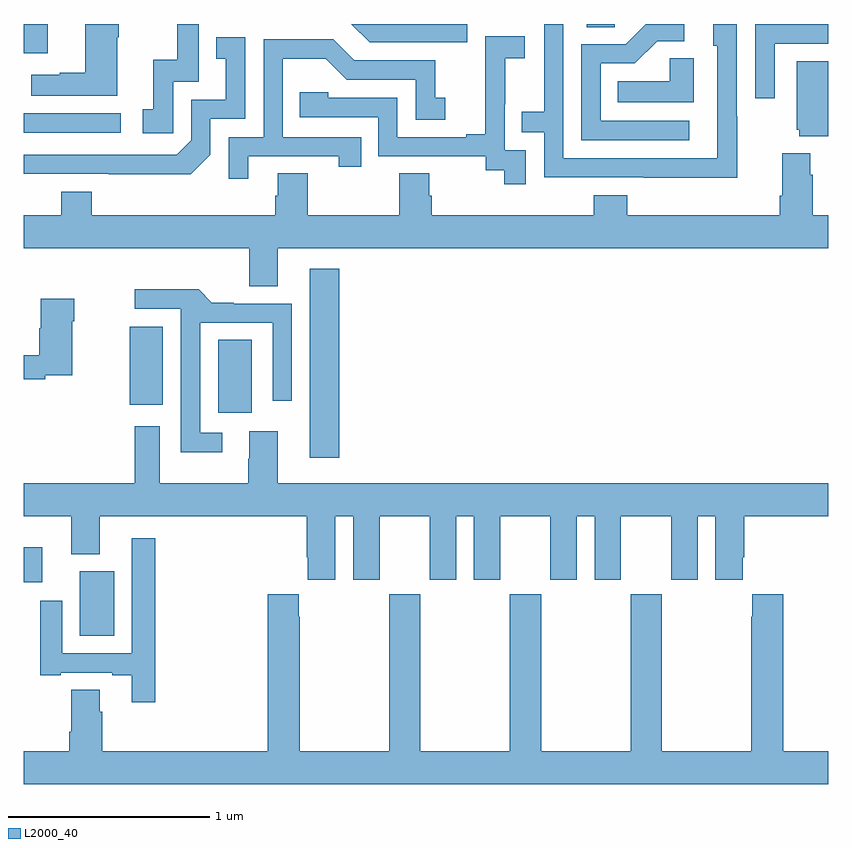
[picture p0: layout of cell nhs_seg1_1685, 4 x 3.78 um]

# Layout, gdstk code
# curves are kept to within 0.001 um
import gdstk
lib = gdstk.Library(unit=1e-6, precision=1e-09)
def R(c, l, rs):  # rectangles x0, y0, x1, y1
    for r in rs: c.add(gdstk.rectangle(r[:2], r[2:], *l))
def P(c, l, *ps):  # polygons
    for p in ps: c.add(gdstk.Polygon(p, *l))
L2000_40 = (2000, 40)

nhs_seg1_1685 = lib.new_cell('nhs_seg1_1685')
R(nhs_seg1_1685, L2000_40, [(203.279,531.158,203.449,531.478), (203,531.422,203.092,531.598), (204.422,532.041,204.569,532.981), (203.966,532.266,204.133,532.628), (203.528,532.307,203.692,532.693), (203,533.658,203.482,533.754), (203,534.054,203.119,534.199), (205.799,534.184,205.938,534.199)])
P(nhs_seg1_1685, L2000_40, [(203.464,534.134),(203.472,534.134),(203.472,534.199),(203.306,534.199),(203.306,533.957),(203.18,533.957),(203.18,533.947),(203.037,533.947),(203.037,533.843),(203.464,533.843)],
  [(206.547,533.741),(206.544,533.741),(206.544,534.199),(206.429,534.199),(206.429,534.09),(206.448,534.09),(206.448,533.532),(205.683,533.532),(205.683,534.199),(205.587,534.199),(205.587,533.762),(205.477,533.762),(205.477,533.661),(205.587,533.661),(205.587,533.436),(206.083,533.436),(206.083,533.435),(206.547,533.435)],
  [(206.733,534.102),(207,534.102),(207,534.199),(206.953,534.199),(206.953,534.198),(206.637,534.198),(206.637,533.829),(206.733,533.829)],
  [(206.308,533.718),(205.869,533.718),(205.869,534.003),(206.038,534.003),(206.149,534.114),(206.284,534.114),(206.284,534.199),(206.092,534.199),(205.992,534.099),(205.773,534.099),(205.773,533.622),(206.308,533.622)],
  [(203.742,533.913),(203.871,533.913),(203.871,534.199),(203.763,534.199),(203.763,534.022),(203.645,534.022),(203.645,533.775),(203.592,533.775),(203.592,533.655),(203.742,533.655)],
  [(205.206,534.199),(204.629,534.199),(204.72,534.108),(205.206,534.108)],
  [(205.497,533.571),(205.392,533.571),(205.392,533.801),(205.394,533.801),(205.394,534.029),(205.492,534.029),(205.492,534.139),(205.294,534.139),(205.294,533.933),(205.295,533.933),(205.295,533.65),(205.199,533.65),(205.199,533.637),(204.858,533.637),(204.858,533.832),(204.513,533.832),(204.513,533.859),(204.373,533.859),(204.373,533.736),(204.762,533.736),(204.762,533.541),(205.296,533.541),(205.296,533.473),(205.389,533.473),(205.389,533.403),(205.497,533.403)],
  [(203.928,533.55),(203.928,533.727),(204.102,533.727),(204.102,534.133),(203.956,534.133),(203.956,534.027),(204.005,534.027),(204.005,533.823),(203.832,533.823),(203.832,533.622),(203.76,533.55),(203,533.55),(203,533.454),(203.83,533.453)],
  [(204.115,533.541),(204.566,533.541),(204.566,533.49),(204.677,533.49),(204.677,533.637),(204.288,533.637),(204.288,534.026),(204.502,534.026),(204.606,533.922),(204.948,533.922),(204.948,533.724),(205.096,533.724),(205.096,533.833),(205.047,533.833),(205.047,534.018),(204.643,534.018),(204.538,534.123),(204.192,534.123),(204.192,533.637),(204.018,533.637),(204.018,533.43),(204.115,533.43)],
  [(206.332,534.029),(206.211,534.029),(206.211,533.914),(205.954,533.914),(205.954,533.81),(206.332,533.81)],
  [(207,534.013),(206.843,534.013),(206.843,533.673),(206.855,533.673),(206.855,533.642),(207,533.642)],
  [(204.262,533.084),(207,533.084),(207,533.248),(206.924,533.248),(206.924,533.45),(206.911,533.45),(206.911,533.557),(206.771,533.557),(206.771,533.344),(206.759,533.344),(206.759,533.248),(206,533.248),(206,533.347),(205.835,533.347),(205.835,533.248),(205.028,533.248),(205.028,533.346),(205.015,533.346),(205.015,533.456),(204.868,533.456),(204.868,533.248),(204.411,533.248),(204.411,533.456),(204.263,533.456),(204.263,533.346),(204.251,533.346),(204.251,533.248),(203.339,533.248),(203.339,533.365),(203.186,533.365),(203.186,533.248),(203,533.248),(203,533.084),(204.122,533.084),(204.122,532.894),(204.262,532.894)],
  [(203.986,532.167),(203.877,532.167),(203.877,532.713),(204.237,532.713),(204.237,532.326),(204.333,532.326),(204.333,532.809),(204.043,532.809),(204.043,532.814),(203.935,532.814),(203.87,532.88),(203.553,532.88),(203.553,532.782),(203.781,532.782),(203.781,532.07),(203.986,532.07)],
  [(203.108,532.452),(203.242,532.452),(203.242,532.721),(203.25,532.721),(203.25,532.834),(203.084,532.834),(203.084,532.685),(203.077,532.685),(203.077,532.551),(203,532.551),(203,532.432),(203.108,532.432)],
  [(204.55,531.752),(204.638,531.752),(204.638,531.435),(204.769,531.435),(204.769,531.752),(205.019,531.752),(205.019,531.435),(205.15,531.435),(205.15,531.752),(205.238,531.752),(205.238,531.435),(205.369,531.435),(205.369,531.752),(205.619,531.752),(205.619,531.435),(205.75,531.435),(205.75,531.752),(205.838,531.752),(205.838,531.435),(205.969,531.435),(205.969,531.752),(206.219,531.752),(206.219,531.435),(206.35,531.435),(206.35,531.752),(206.438,531.752),(206.438,531.435),(206.575,531.435),(206.575,531.547),(206.582,531.547),(206.582,531.752),(207,531.752),(207,531.916),(204.262,531.916),(204.262,532.174),(204.122,532.174),(204.122,532.037),(204.115,532.037),(204.115,531.916),(203.677,531.916),(203.677,532.198),(203.552,532.198),(203.552,531.916),(203,531.916),(203,531.752),(203.237,531.752),(203.237,531.563),(203.377,531.563),(203.377,531.752),(204.407,531.752),(204.407,531.547),(204.413,531.547),(204.413,531.435),(204.55,531.435)],
  [(203.654,531.643),(203.538,531.643),(203.538,531.069),(203.191,531.069),(203.191,531.331),(203.081,531.331),(203.081,530.961),(203.185,530.961),(203.185,530.973),(203.441,530.973),(203.441,530.961),(203.537,530.961),(203.537,530.826),(203.654,530.826)],
  [(207,530.584),(206.777,530.584),(206.777,531.364),(206.621,531.364),(206.621,531.251),(206.617,531.251),(206.617,530.584),(206.172,530.584),(206.172,531.364),(206.017,531.364),(206.017,530.584),(205.572,530.584),(205.572,531.364),(205.417,531.364),(205.417,530.584),(204.972,530.584),(204.972,531.364),(204.817,531.364),(204.817,530.584),(204.372,530.584),(204.372,531.251),(204.367,531.251),(204.367,531.364),(204.212,531.364),(204.212,530.584),(203.39,530.584),(203.39,530.78),(203.377,530.78),(203.377,530.888),(203.237,530.888),(203.237,530.68),(203.225,530.68),(203.225,530.584),(203,530.584),(203,530.42),(207,530.42)])

lib.write_gds('nhs_seg1_1685.gds')
